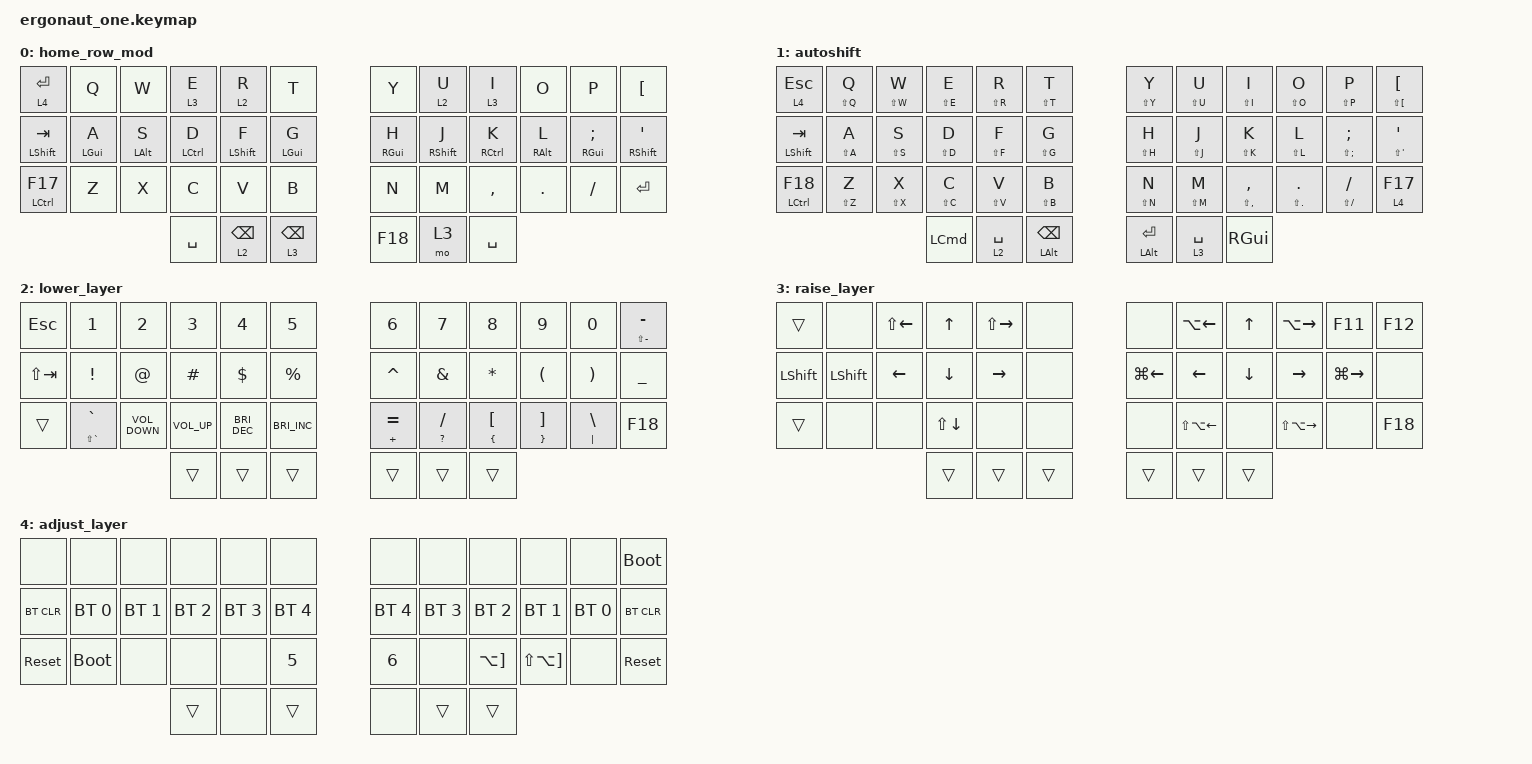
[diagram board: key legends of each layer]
#include <behaviors.dtsi>
#include <dt-bindings/zmk/bt.h>
#include <dt-bindings/zmk/keys.h>

#define DEF 0
#define LWR 1
#define RSE 2
#define ADJ 3

&lt {
};

&mt {
};

/ {
    conditional_layers { compatible = "zmk,conditional-layers"; };

    behaviors {
        autoshift: autoshift {
            compatible = "zmk,behavior-hold-tap";
            label = "AUTOSHIFT";
            bindings = <&kp>, <&kp>;

            #binding-cells = <2>;
            tapping-term-ms = <250>;
            quick-tap-ms = <0>;
            flavor = "tap-preferred";
        };

        hr_mod: hr_mod {
            compatible = "zmk,behavior-hold-tap";
            label = "HR_MOD";
            bindings = <&kp>, <&kp>;

            #binding-cells = <2>;
            tapping-term-ms = <200>;
            quick-tap-ms = <0>;
            flavor = "tap-preferred";
        };
    };

    combos {
        compatible = "zmk,combos";

        turn_off_none_layer {
            bindings = <&tog 1>;
            key-positions = <13 14 15 16>;
        };

        turn_on_none_layer {
            bindings = <&tog 1>;
            key-positions = <1 2 3 4>;
            layers = <1>;
        };
    };

    keymap {
        compatible = "zmk,keymap";

        home_row_mod {
            bindings = <
&lt 4 ENTER           &kp Q               &kp W               &lt 3 E                 &lt 2 R               &kp T               &kp Y                &lt 2 U                &lt 3 I                  &kp O                &kp P                        &kp LBKT
&mt LEFT_SHIFT TAB    &hr_mod LEFT_GUI A  &hr_mod LEFT_ALT S  &hr_mod LEFT_CONTROL D  &hr_mod LEFT_SHIFT F  &hr_mod LEFT_GUI G  &hr_mod RIGHT_GUI H  &hr_mod RIGHT_SHIFT J  &hr_mod RIGHT_CONTROL K  &hr_mod RIGHT_ALT L  &hr_mod RIGHT_GUI SEMICOLON  &hr_mod RIGHT_SHIFT SQT
&mt LEFT_CONTROL F17  &kp Z               &kp X               &kp C                   &kp V                 &kp B               &kp N                &kp M                  &kp COMMA                &kp DOT              &kp FSLH                     &kp RET
                                                              &kp SPACE               &lt 2 BACKSPACE       &lt 3 BACKSPACE     &kp F18              &mo 3                  &kp SPACE
            >;
        };

        autoshift {
            bindings = <
&lt 4 ESC             &autoshift LS(Q) Q  &autoshift LS(W) W  &autoshift LS(E) E  &autoshift LS(R) R  &autoshift LS(T) T      &autoshift LS(Y) Y  &autoshift LS(U) U  &autoshift LS(I) I          &autoshift LS(O) O      &autoshift LS(P) P                  &autoshift LS(LBKT) LBKT
&mt LEFT_SHIFT TAB    &autoshift LS(A) A  &autoshift LS(S) S  &autoshift LS(D) D  &autoshift LS(F) F  &autoshift LS(G) G      &autoshift LS(H) H  &autoshift LS(J) J  &autoshift LS(K) K          &autoshift LS(L) L      &autoshift LS(SEMICOLON) SEMICOLON  &autoshift LS(SINGLE_QUOTE) SINGLE_QUOTE
&mt LEFT_CONTROL F18  &autoshift LS(Z) Z  &autoshift LS(X) X  &autoshift LS(C) C  &autoshift LS(V) V  &autoshift LS(B) B      &autoshift LS(N) N  &autoshift LS(M) M  &autoshift LS(COMMA) COMMA  &autoshift LS(DOT) DOT  &autoshift LS(SLASH) SLASH          &lt 4 F17
                                                              &kp LCMD            &lt 2 SPACE         &mt LEFT_ALT BACKSPACE  &mt LEFT_ALT ENTER  &lt 3 SPACE         &kp RIGHT_GUI
            >;
        };

        lower_layer {
            bindings = <
&kp ESCAPE   &kp N1                      &kp N2             &kp N3           &kp N4                &kp N5                &kp N6                 &kp N7                     &kp N8                              &kp N9                                &kp N0                     &autoshift LS(MINUS) MINUS
&kp LS(TAB)  &kp EXCL                    &kp AT             &kp HASH         &kp DLLR              &kp PRCNT             &kp CARET              &kp AMPS                   &kp STAR                            &kp LPAR                              &kp RPAR                   &kp UNDERSCORE
&trans       &autoshift LS(GRAVE) GRAVE  &kp C_VOLUME_DOWN  &kp C_VOLUME_UP  &kp C_BRIGHTNESS_DEC  &kp C_BRIGHTNESS_INC  &autoshift PLUS EQUAL  &autoshift QUESTION SLASH  &autoshift LEFT_BRACE LEFT_BRACKET  &autoshift RIGHT_BRACE RIGHT_BRACKET  &autoshift PIPE BACKSLASH  &kp F18
                                                            &trans           &trans                &trans                &trans                 &trans                     &trans
            >;
        };

        raise_layer {
            bindings = <
&trans          &none           &kp LS(LEFT)  &kp UP        &kp LS(RIGHT)  &none   &none         &kp LA(LEFT)      &kp UP    &kp LA(RIGHT)      &kp F11        &kp F12
&kp LEFT_SHIFT  &kp LEFT_SHIFT  &kp LEFT      &kp DOWN      &kp RIGHT      &none   &kp LG(LEFT)  &kp LEFT          &kp DOWN  &kp RIGHT          &kp LG(RIGHT)  &none
&trans          &none           &none         &kp LS(DOWN)  &none          &none   &none         &kp LS(LA(LEFT))  &none     &kp LS(LA(RIGHT))  &none          &kp F18
                                              &trans        &trans         &trans  &trans        &trans            &trans
            >;
        };

        adjust_layer {
            bindings = <
&none       &none         &none         &none         &none         &none         &none         &none         &none                  &none                      &none         &bootloader
&bt BT_CLR  &bt BT_SEL 0  &bt BT_SEL 1  &bt BT_SEL 2  &bt BT_SEL 3  &bt BT_SEL 4  &bt BT_SEL 4  &bt BT_SEL 3  &bt BT_SEL 2           &bt BT_SEL 1               &bt BT_SEL 0  &bt BT_CLR
&sys_reset  &bootloader   &none         &none         &none         &kp N5        &kp N6        &none         &kp LA(RIGHT_BRACKET)  &kp LS(LA(RIGHT_BRACKET))  &none         &sys_reset
                                        &trans        &none         &trans        &none         &trans        &trans
            >;
        };
    };
};
